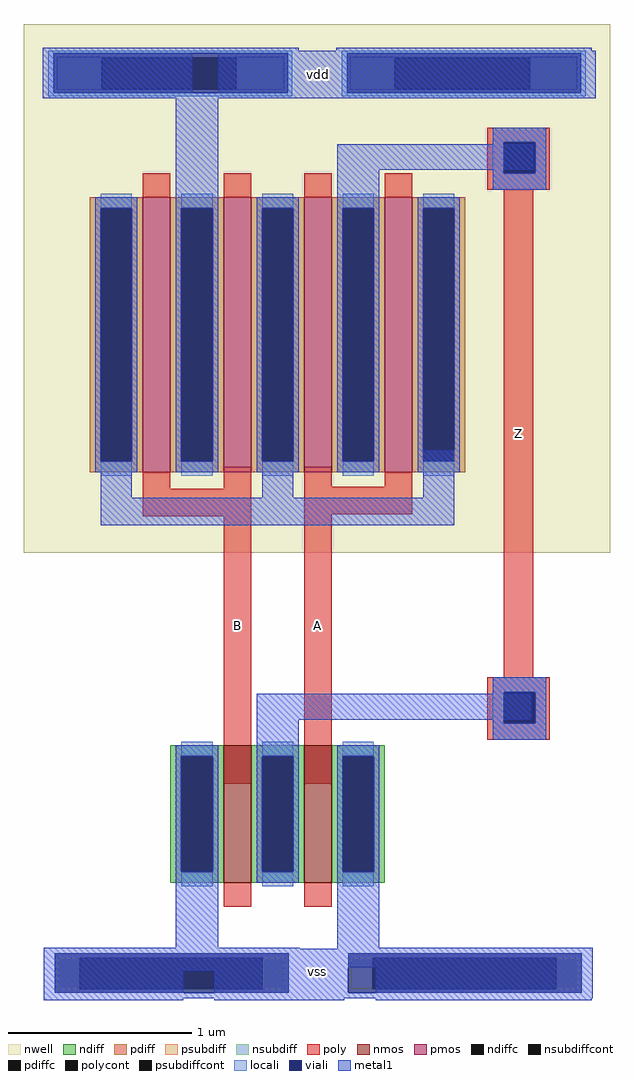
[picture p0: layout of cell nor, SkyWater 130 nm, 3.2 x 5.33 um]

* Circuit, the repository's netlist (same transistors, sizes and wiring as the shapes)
* NGSPICE file created from nor.ext - technology: sky130A

.subckt sky130_fd_pr__nfet_01v8_NDWVGB a_15_n75# a_n15_n101# a_n73_n75# VSUBS
X0 a_15_n75# a_n15_n101# a_n73_n75# VSUBS sky130_fd_pr__nfet_01v8 ad=0.218 pd=2.08 as=0.218 ps=2.08 w=0.75 l=0.15
.ends

.subckt sky130_fd_pr__pfet_01v8_52K3FE a_15_n150# a_n15_n176# a_n73_n150# w_n109_n212#
X0 a_15_n150# a_n15_n176# a_n73_n150# w_n109_n212# sky130_fd_pr__pfet_01v8 ad=0.435 pd=3.58 as=0.435 ps=3.58 w=1.5 l=0.15
.ends

nor
Xsky130_fd_pr__nfet_01v8_NDWVGB_1 a_524_320# B VSUBS VSUBS sky130_fd_pr__nfet_01v8_NDWVGB
Xsky130_fd_pr__nfet_01v8_NDWVGB_2 VSUBS A a_524_320# VSUBS sky130_fd_pr__nfet_01v8_NDWVGB
Xsky130_fd_pr__pfet_01v8_52K3FE_0 m1_84_536# A a_524_320# m1_28_1004# sky130_fd_pr__pfet_01v8_52K3FE
Xsky130_fd_pr__pfet_01v8_52K3FE_1 a_524_320# A m1_84_536# m1_28_1004# sky130_fd_pr__pfet_01v8_52K3FE
Xsky130_fd_pr__pfet_01v8_52K3FE_2 m1_84_536# B m1_28_1004# m1_28_1004# sky130_fd_pr__pfet_01v8_52K3FE
Xsky130_fd_pr__pfet_01v8_52K3FE_3 m1_28_1004# B m1_84_536# m1_28_1004# sky130_fd_pr__pfet_01v8_52K3FE
.ends

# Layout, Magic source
magic
tech sky130A
magscale 1 2
<< poly >>
rect 218 576 248 600
rect 130 546 248 576
rect 218 254 248 546
rect 306 578 336 600
rect 306 548 424 578
rect 306 254 336 548
rect 524 320 556 954
<< metal1 >>
rect 28 1008 184 1056
rect 212 1008 624 1054
rect 28 1004 624 1008
rect 166 1002 624 1004
rect 166 886 212 1002
rect 342 924 556 952
rect 342 890 388 924
rect 84 566 118 600
rect 260 566 294 594
rect 436 566 470 618
rect 84 536 470 566
rect 254 324 554 352
rect 254 296 300 324
rect 166 74 212 148
rect 342 74 388 148
rect 22 54 620 74
rect 22 50 350 54
rect 22 18 174 50
rect 208 18 350 50
rect 384 18 620 54
use grid  grid_0 ../grid
transform 1 0 381 0 1 30
box -61 -10 259 1053
use grid  grid_1 ../grid
transform 1 0 61 0 1 30
box -61 -10 259 1053
use sky130_fd_pr__nfet_01v8_NDWVGB  sky130_fd_pr__nfet_01v8_NDWVGB_1
transform 1 0 233 0 1 221
box -73 -101 73 101
use sky130_fd_pr__nfet_01v8_NDWVGB  sky130_fd_pr__nfet_01v8_NDWVGB_2
transform 1 0 321 0 1 221
box -73 -101 73 101
use sky130_fd_pr__pfet_01v8_52K3FE  sky130_fd_pr__pfet_01v8_52K3FE_0
transform 1 0 409 0 1 744
box -109 -212 109 212
use sky130_fd_pr__pfet_01v8_52K3FE  sky130_fd_pr__pfet_01v8_52K3FE_1
transform 1 0 321 0 1 744
box -109 -212 109 212
use sky130_fd_pr__pfet_01v8_52K3FE  sky130_fd_pr__pfet_01v8_52K3FE_2
transform 1 0 233 0 1 744
box -109 -212 109 212
use sky130_fd_pr__pfet_01v8_52K3FE  sky130_fd_pr__pfet_01v8_52K3FE_3
transform 1 0 145 0 1 744
box -109 -212 109 212
use via_m1_p  via_m1_p_0 ../via_m1_p
transform 1 0 506 0 1 902
box 0 0 68 68
use via_m1_p  via_m1_p_1 ../via_m1_p
transform 1 0 506 0 1 302
box 0 0 68 68
<< labels >>
rlabel space 22 1002 622 1054 1 vdd
rlabel space 20 18 620 80 1 vss
rlabel poly 218 254 248 600 1 B
rlabel poly 306 254 336 600 1 A
rlabel space 524 302 556 970 1 Z
<< end >>

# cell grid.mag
magic
tech sky130A
magscale 1 2
<< nwell >>
rect -61 476 259 1053
<< psubdiff >>
rect -24 0 0 34
rect 200 0 224 34
<< nsubdiff >>
rect -25 1016 223 1017
rect -25 982 24 1016
rect 171 982 223 1016
rect -25 981 223 982
<< psubdiffcont >>
rect 0 0 200 34
<< nsubdiffcont >>
rect 24 982 171 1016
<< locali >>
rect -34 1021 232 1024
rect -34 978 -28 1021
rect 227 978 232 1021
rect -34 974 232 978
<< viali >>
rect -28 1016 227 1021
rect -28 982 24 1016
rect 24 982 171 1016
rect 171 982 227 1016
rect -28 978 227 982
rect -27 34 228 39
rect -27 0 0 34
rect 0 0 200 34
rect 200 0 228 34
rect -27 -4 228 0
<< metal1 >>
rect -40 1021 239 1027
rect -40 978 -28 1021
rect 227 978 239 1021
rect -40 972 239 978
rect -39 39 240 45
rect -39 -4 -27 39
rect 228 -4 240 39
rect -39 -10 240 -4
<< end >>

# cell sky130_fd_pr__nfet_01v8_NDWVGB: kit device sky130_fd_pr__nfet_01v8, w 0.75 l 0.150 m 1 nf 1 diffcov 100 polycov 100 guard 0 glc 0 grc 0 gtc 0 gbc 0 tbcov 100 rlcov 100 topc 0 botc 0 poverlap 0 doverlap 1 lmin 0.15 wmin 0.42 compatible {sky130_fd_pr__nfet_01v8 sky130_fd_pr__nfet_01v8_lvt sky130_fd_bs_flash__special_sonosfet_star sky130_fd_pr__nfet_g5v0d10v5 sky130_fd_pr__nfet_05v0_nvt sky130_fd_pr__nfet_03v3_nvt} full_metal 0 viasrc 100 viadrn 100 viagate 100 viagb 0 viagr 0 viagl 0 viagt 0

# cell sky130_fd_pr__pfet_01v8_52K3FE: kit device sky130_fd_pr__pfet_01v8, w 1.5 l 0.15 m 1 nf 1 diffcov 100 polycov 100 guard 0 glc 0 grc 0 gtc 0 gbc 0 tbcov 100 rlcov 100 topc 0 botc 0 poverlap 0 doverlap 1 lmin 0.15 wmin 0.42 compatible {sky130_fd_pr__pfet_01v8 sky130_fd_pr__pfet_01v8_lvt sky130_fd_pr__pfet_01v8_hvt sky130_fd_pr__pfet_g5v0d10v5} full_metal 0 viasrc 100 viadrn 100 viagate 100 viagb 0 viagr 0 viagl 0 viagt 0

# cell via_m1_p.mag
magic
tech sky130A
<< poly >>
rect 0 26 34 34
rect 0 9 9 26
rect 26 9 34 26
rect 0 0 34 9
<< polycont >>
rect 9 9 26 26
<< locali >>
rect 3 26 32 34
rect 3 9 9 26
rect 26 9 32 26
rect 3 0 32 9
<< viali >>
rect 9 9 26 26
<< metal1 >>
rect 3 26 32 34
rect 3 9 9 26
rect 26 9 32 26
rect 3 0 32 9
<< end >>
